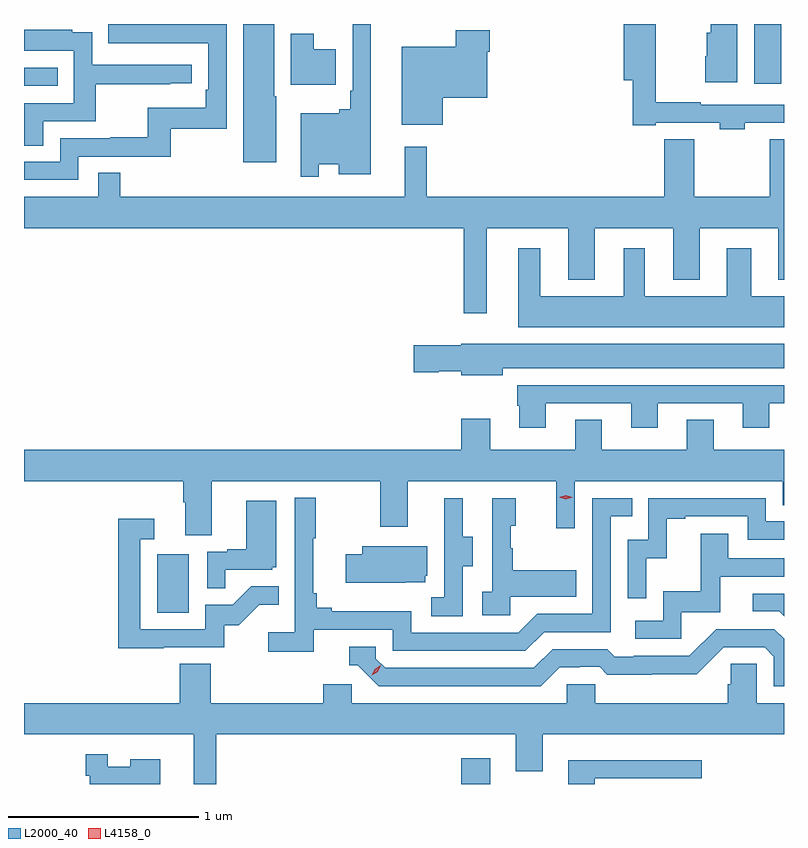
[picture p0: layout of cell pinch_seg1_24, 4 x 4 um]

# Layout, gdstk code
import gdstk
lib = gdstk.Library(unit=1e-6, precision=1e-09)
def R(c, l, rs):  # rectangles x0, y0, x1, y1
    for r in rs: c.add(gdstk.rectangle(r[:2], r[2:], *l))
def P(c, l, *ps):  # polygons
    for p in ps: c.add(gdstk.Polygon(p, *l))
L2000_40 = (2000, 40)
L4158_0 = (4158, 0)

pinch_seg1_24 = lib.new_cell('pinch_seg1_24')
R(pinch_seg1_24, L2000_40, [(1131.731,572.782,1131.883,572.917), (1130.132,573.684,1130.296,573.991), (1129.43,576.456,1129.607,576.552), (1133.273,576.468,1133.416,576.782)])
P(pinch_seg1_24, L2000_40, [(1130.758,576.402),(1130.746,576.402),(1130.746,576.782),(1130.585,576.782),(1130.585,576.054),(1130.758,576.054)],
  [(1133.223,576.261),(1133.43,576.261),(1133.43,576.357),(1132.991,576.357),(1132.991,576.37),(1132.756,576.37),(1132.756,576.782),(1132.586,576.782),(1132.586,576.485),(1132.633,576.485),(1132.633,576.249),(1132.756,576.249),(1132.756,576.261),(1133.091,576.261),(1133.091,576.229),(1133.223,576.229)],
  [(1133.185,576.782),(1133.045,576.782),(1133.045,576.735),(1133.024,576.735),(1133.024,576.612),(1133.015,576.612),(1133.015,576.476),(1133.185,576.476)],
  [(1130.982,576.044),(1131.086,576.044),(1131.086,575.99),(1131.256,575.99),(1131.256,576.782),(1131.159,576.782),(1131.159,576.43),(1131.147,576.43),(1131.147,576.334),(1131.09,576.334),(1131.09,576.313),(1130.886,576.313),(1130.886,575.979),(1130.982,575.979)],
  [(1129.716,576.084),(1130.203,576.084),(1130.203,576.231),(1130.496,576.231),(1130.496,576.782),(1129.873,576.782),(1129.873,576.68),(1130.087,576.68),(1130.087,576.681),(1130.4,576.681),(1130.4,576.436),(1130.387,576.436),(1130.387,576.34),(1130.082,576.34),(1130.082,576.185),(1129.885,576.185),(1129.885,576.18),(1129.62,576.18),(1129.62,576.057),(1129.43,576.057),(1129.43,575.961),(1129.716,575.961)],
  [(1129.531,576.27),(1129.808,576.27),(1129.808,576.466),(1130.201,576.466),(1130.201,576.471),(1130.314,576.471),(1130.314,576.567),(1129.788,576.567),(1129.788,576.739),(1129.685,576.739),(1129.685,576.751),(1129.43,576.751),(1129.43,576.642),(1129.692,576.642),(1129.692,576.366),(1129.43,576.366),(1129.43,576.142),(1129.531,576.142)],
  [(1131.634,576.395),(1131.868,576.395),(1131.868,576.635),(1131.881,576.635),(1131.881,576.748),(1131.703,576.748),(1131.703,576.661),(1131.419,576.661),(1131.419,576.251),(1131.634,576.251)],
  [(1131.07,576.649),(1130.956,576.649),(1130.956,576.73),(1130.834,576.73),(1130.834,576.461),(1131.07,576.461)],
  [(1131.865,575.708),(1132.295,575.708),(1132.295,575.435),(1132.435,575.435),(1132.435,575.708),(1132.847,575.708),(1132.847,575.435),(1132.987,575.435),(1132.987,575.708),(1133.399,575.708),(1133.399,575.435),(1133.43,575.435),(1133.43,576.176),(1133.356,576.176),(1133.356,575.872),(1132.958,575.872),(1132.958,576.176),(1132.799,576.176),(1132.799,575.872),(1131.551,575.872),(1131.551,576.136),(1131.434,576.136),(1131.434,575.872),(1129.937,575.872),(1129.937,575.999),(1129.821,575.999),(1129.821,575.872),(1129.43,575.872),(1129.43,575.708),(1131.744,575.708),(1131.744,575.259),(1131.865,575.259)],
  [(1133.43,575.35),(1133.257,575.35),(1133.257,575.602),(1133.129,575.602),(1133.129,575.35),(1132.696,575.35),(1132.696,575.602),(1132.586,575.602),(1132.586,575.35),(1132.147,575.35),(1132.147,575.602),(1132.031,575.602),(1132.031,575.186),(1133.43,575.186)],
  [(1131.949,574.97),(1133.43,574.97),(1133.43,575.098),(1131.732,575.098),(1131.732,575.09),(1131.48,575.09),(1131.48,574.948),(1131.612,574.948),(1131.612,574.955),(1131.732,574.955),(1131.732,574.934),(1131.949,574.934)],
  [(1132.177,574.785),(1132.625,574.785),(1132.625,574.656),(1132.765,574.656),(1132.765,574.785),(1133.213,574.785),(1133.213,574.656),(1133.353,574.656),(1133.353,574.785),(1133.43,574.785),(1133.43,574.881),(1132.025,574.881),(1132.025,574.773),(1132.037,574.773),(1132.037,574.656),(1132.177,574.656)],
  [(1130.419,574.376),(1131.304,574.376),(1131.304,574.137),(1131.451,574.137),(1131.451,574.376),(1132.232,574.376),(1132.232,574.128),(1132.329,574.128),(1132.329,574.376),(1133.424,574.376),(1133.424,574.249),(1133.43,574.249),(1133.43,574.54),(1133.059,574.54),(1133.059,574.7),(1132.919,574.7),(1132.919,574.54),(1132.471,574.54),(1132.471,574.7),(1132.331,574.7),(1132.331,574.54),(1131.883,574.54),(1131.883,574.705),(1131.731,574.705),(1131.731,574.54),(1129.43,574.54),(1129.43,574.376),(1130.267,574.376),(1130.267,574.264),(1130.279,574.264),(1130.279,574.09),(1130.419,574.09)],
  [(1130.954,573.594),(1131.372,573.594),(1131.372,573.483),(1132.069,573.483),(1132.168,573.582),(1132.518,573.582),(1132.518,574.191),(1132.631,574.191),(1132.631,574.287),(1132.422,574.287),(1132.422,573.678),(1132.131,573.678),(1132.032,573.579),(1131.468,573.579),(1131.468,573.691),(1131.049,573.691),(1131.049,573.71),(1130.972,573.71),(1130.972,573.787),(1130.953,573.787),(1130.953,574.075),(1130.965,574.075),(1130.965,574.288),(1130.856,574.288),(1130.856,573.58),(1130.715,573.58),(1130.715,573.478),(1130.954,573.478)],
  [(1132.704,573.971),(1132.814,573.971),(1132.814,574.179),(1132.909,574.179),(1132.909,574.191),(1133.238,574.191),(1133.238,574.068),(1133.43,574.068),(1133.43,574.164),(1133.334,574.164),(1133.334,574.287),(1132.716,574.287),(1132.716,574.068),(1132.608,574.068),(1132.608,573.759),(1132.704,573.759)],
  [(1131.99,573.767),(1132.337,573.767),(1132.337,573.907),(1132.003,573.907),(1132.003,574.022),(1131.993,574.022),(1131.993,574.14),(1132.018,574.14),(1132.018,574.285),(1131.894,574.285),(1131.894,573.794),(1131.843,573.794),(1131.843,573.669),(1131.99,573.669)],
  [(1131.738,573.928),(1131.793,573.928),(1131.793,574.083),(1131.739,574.083),(1131.739,574.285),(1131.641,574.285),(1131.641,574.071),(1131.642,574.071),(1131.642,573.765),(1131.573,573.765),(1131.573,573.664),(1131.738,573.664)],
  [(1130.489,573.909),(1130.736,573.909),(1130.736,573.924),(1130.758,573.924),(1130.758,574.273),(1130.6,574.273),(1130.6,574.018),(1130.501,574.018),(1130.501,574.005),(1130.394,574.005),(1130.394,573.811),(1130.489,573.811)],
  [(1130.165,573.501),(1130.484,573.501),(1130.484,573.618),(1130.56,573.618),(1130.667,573.725),(1130.771,573.725),(1130.771,573.824),(1130.627,573.824),(1130.529,573.726),(1130.385,573.726),(1130.385,573.597),(1130.043,573.597),(1130.043,574.071),(1130.116,574.071),(1130.116,574.177),(1129.927,574.177),(1129.927,573.496),(1130.165,573.496)],
  [(1132.89,573.687),(1133.095,573.687),(1133.095,573.873),(1133.43,573.873),(1133.43,573.969),(1133.137,573.969),(1133.137,574.099),(1132.993,574.099),(1132.993,573.796),(1132.794,573.796),(1132.794,573.642),(1132.647,573.642),(1132.647,573.546),(1132.89,573.546)],
  [(1131.437,573.843),(1131.541,573.843),(1131.541,573.879),(1131.553,573.879),(1131.553,574.033),(1131.209,574.033),(1131.209,573.99),(1131.123,573.99),(1131.123,573.842),(1131.437,573.842)],
  [(1133.43,573.783),(1133.265,573.783),(1133.265,573.69),(1133.406,573.69),(1133.43,573.666)],
  [(1132.249,573.396),(1132.356,573.396),(1132.356,573.399),(1132.459,573.399),(1132.501,573.357),(1132.734,573.357),(1132.734,573.359),(1132.97,573.359),(1133.112,573.501),(1133.328,573.501),(1133.376,573.453),(1133.376,573.297),(1133.43,573.297),(1133.43,573.546),(1133.379,573.597),(1133.073,573.597),(1132.932,573.456),(1132.639,573.456),(1132.639,573.453),(1132.54,573.453),(1132.501,573.492),(1132.212,573.492),(1132.113,573.393),(1131.33,573.393),(1131.282,573.441),(1131.282,573.504),(1131.143,573.504),(1131.143,573.408),(1131.186,573.408),(1131.297,573.297),(1132.15,573.297)],
  [(1130.441,573.044),(1132.019,573.044),(1132.019,572.85),(1132.159,572.85),(1132.159,573.044),(1133.43,573.044),(1133.43,573.208),(1133.286,573.208),(1133.286,573.416),(1133.149,573.416),(1133.149,573.306),(1133.135,573.306),(1133.135,573.208),(1132.437,573.208),(1132.437,573.306),(1132.287,573.306),(1132.287,573.208),(1131.156,573.208),(1131.156,573.306),(1131.005,573.306),(1131.005,573.208),(1130.414,573.208),(1130.414,573.416),(1130.249,573.416),(1130.249,573.208),(1129.43,573.208),(1129.43,573.044),(1130.324,573.044),(1130.324,572.782),(1130.441,572.782)],
  [(1130.146,572.911),(1129.988,572.911),(1129.988,572.872),(1129.872,572.872),(1129.872,572.938),(1129.756,572.938),(1129.756,572.825),(1129.776,572.825),(1129.776,572.782),(1130.146,572.782)],
  [(1132.435,572.811),(1132.996,572.811),(1132.996,572.908),(1132.295,572.908),(1132.295,572.782),(1132.435,572.782)])
P(pinch_seg1_24, L4158_0, [(1131.26,573.354),(1131.26,573.354),(1131.276,573.386),(1131.307,573.406),(1131.307,573.406),(1131.307,573.406),(1131.291,573.373),(1131.261,573.354)],
  [(1132.282,574.281),(1132.246,574.29),(1132.246,574.29),(1132.246,574.29),(1132.282,574.301),(1132.318,574.291),(1132.318,574.291),(1132.318,574.291)])

lib.write_gds('pinch_seg1_24.gds')
